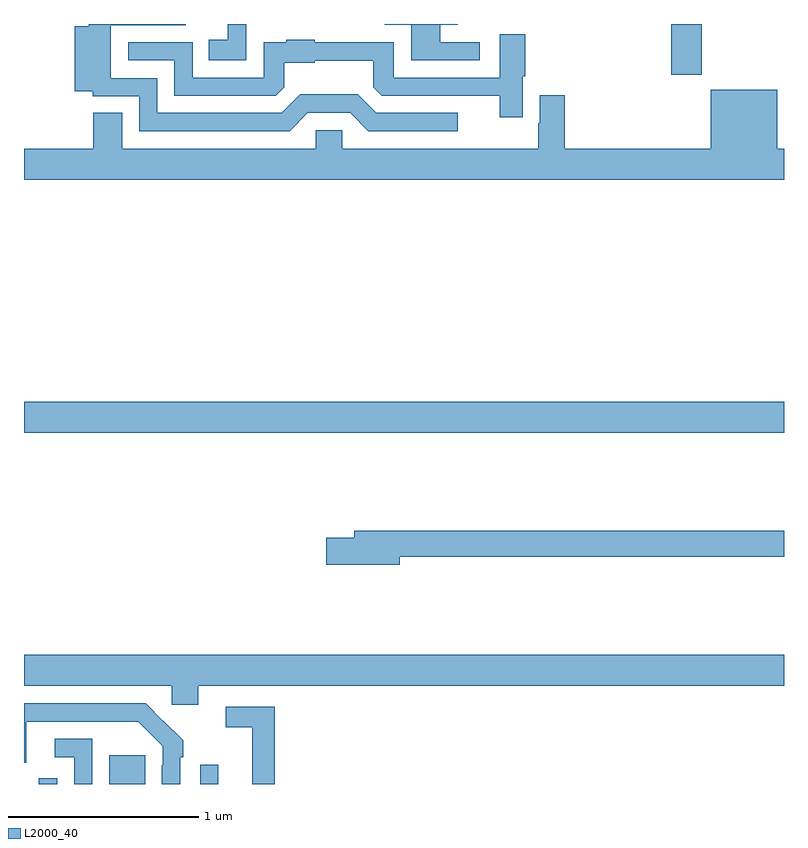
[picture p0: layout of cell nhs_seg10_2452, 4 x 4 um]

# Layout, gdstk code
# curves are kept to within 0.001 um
import gdstk
lib = gdstk.Library(unit=1e-6, precision=1e-09)
def R(c, l, rs):  # rectangles x0, y0, x1, y1
    for r in rs: c.add(gdstk.rectangle(r[:2], r[2:], *l))
def P(c, l, *ps):  # polygons
    for p in ps: c.add(gdstk.Polygon(p, *l))
L2000_40 = (2000, 40)

nhs_seg10_2452 = lib.new_cell('nhs_seg10_2452')
R(nhs_seg10_2452, L2000_40, [(243.078,1266.5,243.174,1266.529), (243.449,1266.5,243.637,1266.652), (243.927,1266.5,244.023,1266.601), (243,1268.348,247,1268.512), (246.407,1270.233,246.567,1270.5)])
P(nhs_seg10_2452, L2000_40, [(245.398,1270.404),(245.19,1270.404),(245.19,1270.496),(245.284,1270.496),(245.284,1270.5),(244.899,1270.5),(244.899,1270.496),(245.039,1270.496),(245.039,1270.308),(245.398,1270.308)],
  [(244.494,1270.032),(244.716,1270.032),(244.812,1269.936),(245.284,1269.936),(245.284,1270.032),(244.854,1270.032),(244.757,1270.13),(244.453,1270.129),(244.356,1270.032),(243.702,1270.032),(243.702,1270.215),(243.457,1270.215),(243.457,1270.494),(243.85,1270.494),(243.85,1270.5),(243.34,1270.5),(243.34,1270.489),(243.266,1270.489),(243.266,1270.145),(243.363,1270.145),(243.363,1270.119),(243.606,1270.119),(243.606,1269.936),(244.398,1269.936)],
  [(244.17,1270.5),(244.072,1270.5),(244.072,1270.417),(243.973,1270.417),(243.973,1270.308),(244.17,1270.308)],
  [(245.626,1270.225),(245.639,1270.225),(245.639,1270.447),(245.504,1270.447),(245.504,1270.218),(244.947,1270.218),(244.947,1270.404),(244.53,1270.404),(244.53,1270.417),(244.38,1270.417),(244.38,1270.405),(244.263,1270.405),(244.263,1270.218),(243.888,1270.218),(243.888,1270.404),(243.549,1270.404),(243.549,1270.308),(243.792,1270.308),(243.792,1270.122),(244.326,1270.122),(244.371,1270.167),(244.371,1270.295),(244.53,1270.295),(244.53,1270.307),(244.839,1270.307),(244.839,1270.167),(244.884,1270.122),(245.504,1270.122),(245.504,1270.008),(245.626,1270.008)],
  [(247,1269.844),(246.964,1269.844),(246.964,1270.153),(246.614,1270.153),(246.614,1269.844),(245.846,1269.844),(245.846,1270.126),(245.714,1270.126),(245.714,1269.977),(245.707,1269.977),(245.707,1269.844),(244.674,1269.844),(244.674,1269.942),(244.536,1269.942),(244.536,1269.844),(243.517,1269.844),(243.517,1270.034),(243.365,1270.034),(243.365,1269.844),(243,1269.844),(243,1269.68),(247,1269.68)],
  [(244.978,1267.696),(247,1267.696),(247,1267.832),(244.739,1267.832),(244.739,1267.796),(244.59,1267.796),(244.59,1267.654),(244.978,1267.654)],
  [(243.916,1267.016),(247,1267.016),(247,1267.18),(243,1267.18),(243,1267.016),(243.777,1267.016),(243.777,1266.918),(243.916,1266.918)],
  [(243.822,1266.641),(243.837,1266.641),(243.837,1266.729),(243.64,1266.924),(243,1266.924),(243,1266.612),(243.013,1266.612),(243.013,1266.828),(243.601,1266.828),(243.729,1266.699),(243.729,1266.599),(243.726,1266.599),(243.726,1266.5),(243.822,1266.5)],
  [(244.319,1266.906),(244.062,1266.906),(244.062,1266.798),(244.202,1266.798),(244.202,1266.5),(244.319,1266.5)],
  [(243.36,1266.738),(243.162,1266.738),(243.162,1266.642),(243.264,1266.642),(243.264,1266.5),(243.36,1266.5)])

lib.write_gds('nhs_seg10_2452.gds')
